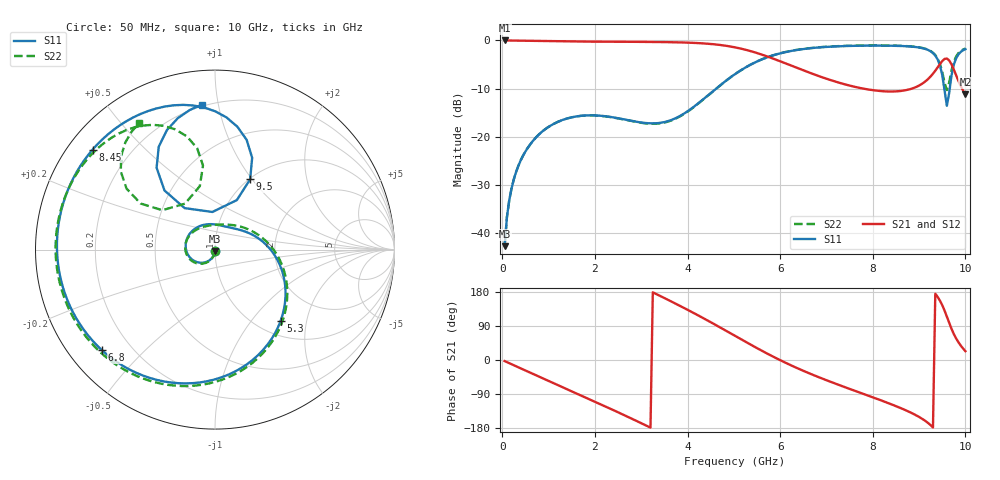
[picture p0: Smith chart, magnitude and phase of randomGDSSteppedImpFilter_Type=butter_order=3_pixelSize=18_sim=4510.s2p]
! freq	dB(S11)	phase(S11)	dB(S12)	phase(S12)
!  dB(S21)	phase(S21)	dB(S22)	phase(S22)
!S-par simulation data
#  GHz  S  DB  R 50
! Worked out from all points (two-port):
!   200 points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, 50 MHz to 10 GHz, reference 50 ohm
!   highest |S21| = 0.00 dB at 50 MHz (marker M1); lowest = -11.2 dB at 10 GHz (marker M2)
!   |S21| within 3 dB of the highest: start of sweep to 5.626 GHz
!   lowest |S11| = -42.7 dB at 50 MHz (marker M3), VSWR 1.01, Z = 50 - j0.735 ohm
!   |S11| at or under -10 dB: start of sweep to 4.614 GHz; 9.544 GHz to 9.662 GHz (118.3 MHz wide, 1.23 % of centre)
!   |S22| runs from -42.7 to -1.0 dB; largest |S21 - S12| = 0
!   S11 on the Smith chart (normalised r, x): 50 MHz: 1.00, -0.01; 5.3 GHz: 1.26, -1.42; 6.8 GHz: 0.10, -0.38; 8.45 GHz: 0.07, +0.36; 9.5 GHz: 1.01, +0.98; 10 GHz: 0.19, +0.90
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0.05  -42.66 -92.3  -0.00 -2.8  -0.00 -2.8  -42.65 -92.1
0.2  -30.67 -101.5  -0.02 -11.1  -0.02 -11.1  -30.66 -100.5
0.5  -23.02 -118.9  -0.06 -27.7  -0.06 -27.7  -23.02 -116.5
1.15  -17.10 -157.1  -0.16 -63.4  -0.16 -63.4  -17.11 -151.0
1.75  -15.58 168.0  -0.24 -96.2  -0.24 -96.2  -15.60 178.0
2.65  -16.41 113.8  -0.28 -146.5  -0.28 -146.5  -16.45 131.2
3.4  -17.10 68.8  -0.33 169.6  -0.33 169.6  -17.19 87.5
4.3  -12.50 18.0  -0.59 113.1  -0.59 113.1  -12.56 24.9
5.05  -6.83 -30.4  -1.48 62.1  -1.48 62.1  -6.83 -28.1
5.3  -5.34 -47.5  -2.05 44.8  -2.05 44.8  -5.34 -45.3
6  -2.68 -93.3  -4.32 -0.4  -4.32 -0.4  -2.66 -89.7
6.7  -1.57 -133.2  -6.93 -38.8  -6.93 -38.8  -1.53 -126.8
6.8  -1.48 -138.5  -7.28 -43.7  -7.28 -43.7  -1.44 -131.5
7.55  -1.12 -175.6  -9.48 -78.5  -9.48 -78.5  -1.08 -164.4
8.35  -1.09 145.8  -10.59 -114.5  -10.59 -114.5  -1.05 162.7
8.45  -1.10 140.7  -10.59 -119.3  -10.59 -119.3  -1.07 158.5
9.15  -1.81 98.5  -8.38 -162.1  -8.38 -162.1  -1.77 123.4
9.35  -3.14 79.7  -6.27 174.9  -6.27 174.9  -3.03 108.3
9.5  -7.16 63.4  -4.27 144.7  -4.27 144.7  -6.50 98.1
9.6  -13.55 94.0  -3.75 114.4  -3.75 114.4  -10.30 123.2
9.75  -5.03 125.5  -6.04 68.5  -6.04 68.5  -4.46 145.4
10  -1.82 95.0  -11.21 23.3  -11.21 23.3  -1.69 120.8
